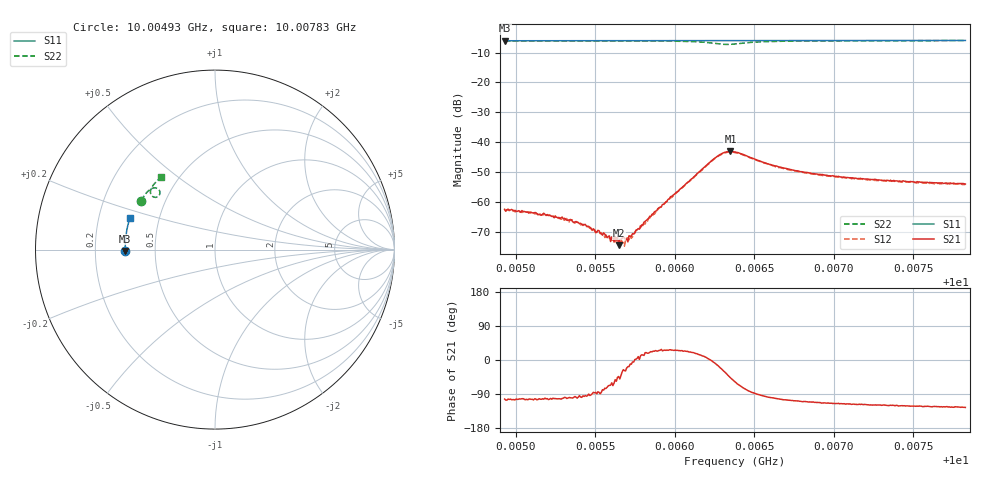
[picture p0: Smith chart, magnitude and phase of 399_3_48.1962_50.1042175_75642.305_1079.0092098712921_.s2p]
#  HZ  S  RI  R  50.00
! Rohde & Schwarz Vector Network Analyzer
! Rohde-Schwarz,ZNB20-2Port,1311601062101988,3.16
! Created: UTC 3/20/2024, 11:53:57 AM
! freq[Hz]  re:S11  im:S11  re:S21  im:S21  re:S12  im:S12  re:S22  im:S22
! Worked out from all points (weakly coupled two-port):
!   401 points, 10.00493 GHz to 10.00783 GHz, reference 50 ohm
!   highest |S21| = -43.09 dB at 10.00635 GHz (marker M1); lowest = -74.5 dB at 10.00565 GHz (marker M2)
!   lowest |S11| = -6.0 dB at 10.00493 GHz (marker M3), VSWR 3.00, Z = 16.7 - j0.309 ohm
!   |S11| at or under -10 dB: nowhere
!   |S22| runs from -7.3 to -6.0 dB; largest |S21 - S12| = 0.00041
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1.0004929e10  -0.4994 -0.00694  -0.00017 -0.000734  -0.00013 -0.000706  -0.4118 0.2734
1.0005204e10  -0.4999 0.0111  -0.000148 -0.000577  -0.000107 -0.000587  -0.4017 0.2895
1.0005357e10  -0.4998 0.0209  -8.42e-05 -0.000462  -8.39e-05 -0.000486  -0.3954 0.2986
1.0005415e10  -0.4997 0.0248  -6.2e-05 -0.000411  -5.4e-05 -0.000423  -0.3929 0.3021
1.0005451e10  -0.4997 0.027  -2.78e-05 -0.00039  2.91e-06 -0.000385  -0.3913 0.3042
1.0005581e10  -0.4995 0.0356  9.93e-05 -0.000246  7.77e-05 -0.000256  -0.3851 0.3124
1.0005646e10  -0.4992 0.0396  0.000136 -0.00013  0.000161 -0.00015  -0.3819 0.3163
1.0005668e10  -0.4992 0.0412  0.000211 -0.000131  0.000173 -0.000122  -0.3807 0.3178
1.000569e10  -0.499 0.0425  0.000204 -0.000112  0.00021 -9.96e-05  -0.3795 0.3192
1.0005712e10  -0.499 0.0439  0.000259 -8.15e-05  0.000232 -1.5e-05  -0.3783 0.3204
1.0005726e10  -0.4991 0.0449  0.000261 -5.16e-05  0.000246 -2.09e-05  -0.3773 0.3214
1.000577e10  -0.4988 0.0477  0.000354 5.58e-05  0.00036 4.59e-05  -0.3746 0.3241
1.0005806e10  -0.4988 0.05  0.000448 9.59e-05  0.000412 0.000124  -0.3724 0.3264
1.00059e10  -0.4981 0.056  0.000725 0.000341  0.000695 0.000359  -0.3655 0.3324
1.0006248e10  -0.4954 0.0785  0.00529 -0.00065  0.0052 -0.000381  -0.3103 0.3302
1.0006299e10  -0.4948 0.0816  0.00589 -0.00279  0.00588 -0.00245  -0.3072 0.3109
1.0006349e10  -0.4946 0.0846  0.00481 -0.0051  0.00497 -0.00474  -0.3204 0.2939
1.0006378e10  -0.4944 0.0862  0.00363 -0.00582  0.00387 -0.00551  -0.3316 0.291
1.0006639e10  -0.4921 0.103  -0.000808 -0.00391  -0.000634 -0.00383  -0.3584 0.3319
1.0006864e10  -0.4896 0.1172  -0.00107 -0.00279  -0.000952 -0.00277  -0.3484 0.353
1.000735e10  -0.4822 0.1478  -0.00113 -0.00195  -0.00102 -0.00199  -0.3243 0.3818
1.0007828e10  -0.4733 0.1771  -0.00115 -0.00163  -0.00101 -0.00164  -0.2997 0.4042
